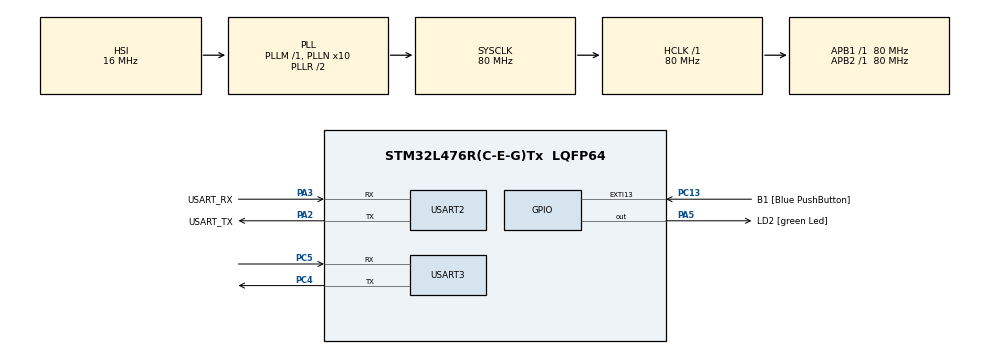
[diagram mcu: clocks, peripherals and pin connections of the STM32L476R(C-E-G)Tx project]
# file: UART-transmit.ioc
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Mcu.Family=STM32L4
Mcu.Name=STM32L476R(C-E-G)Tx
Mcu.Package=LQFP64
NVIC.PriorityGroup=NVIC_PRIORITYGROUP_4
NVIC.USART2_IRQn=true\:0\:0\:false\:false\:true\:true\:true
NVIC.USART3_IRQn=true\:0\:0\:false\:false\:true\:true\:true
PA13\ (JTMS-SWDIO).GPIO_Label=TMS
PA13\ (JTMS-SWDIO).Mode=Serial_Wire
PA13\ (JTMS-SWDIO).Signal=SYS_JTMS-SWDIO
PA14\ (JTCK-SWCLK).GPIO_Label=TCK
PA14\ (JTCK-SWCLK).Mode=Serial_Wire
PA14\ (JTCK-SWCLK).Signal=SYS_JTCK-SWCLK
PA2.GPIO_Label=USART_TX
PA2.GPIO_Mode=GPIO_MODE_AF_PP
PA2.GPIO_PuPd=GPIO_NOPULL
PA2.GPIO_Speed=GPIO_SPEED_FREQ_VERY_HIGH
PA2.Mode=Asynchronous
PA2.Signal=USART2_TX
PA3.GPIO_Label=USART_RX
PA3.GPIO_Mode=GPIO_MODE_AF_PP
PA3.GPIO_PuPd=GPIO_NOPULL
PA3.GPIO_Speed=GPIO_SPEED_FREQ_VERY_HIGH
PA3.Mode=Asynchronous
PA3.Signal=USART2_RX
PA5.GPIO_Label=LD2 [green Led]
PA5.GPIO_ModeDefaultOutputPP=GPIO_MODE_OUTPUT_PP
PA5.GPIO_PuPd=GPIO_NOPULL
PA5.GPIO_Speed=GPIO_SPEED_FREQ_LOW
PA5.Signal=GPIO_Output
PB3\ (JTDO-TRACESWO).GPIO_Label=SWO
PB3\ (JTDO-TRACESWO).Signal=SYS_JTDO-SWO
PC13.GPIO_Label=B1 [Blue PushButton]
PC13.GPIO_ModeDefaultEXTI=GPIO_MODE_IT_FALLING
PC13.GPIO_PuPd=GPIO_NOPULL
PC13.Signal=GPXTI13
PC14-OSC32_IN\ (PC14).Mode=LSE-External-Oscillator
PC14-OSC32_IN\ (PC14).Signal=RCC_OSC32_IN
PC15-OSC32_OUT\ (PC15).Mode=LSE-External-Oscillator
PC15-OSC32_OUT\ (PC15).Signal=RCC_OSC32_OUT
PC4.Mode=Asynchronous
PC4.Signal=USART3_TX
PC5.Mode=Asynchronous
PC5.Signal=USART3_RX
PH0-OSC_IN\ (PH0).Signal=RCC_OSC_IN
PH1-OSC_OUT\ (PH1).Signal=RCC_OSC_OUT
ProjectManager.HeapSize=0x200
ProjectManager.StackSize=0x400
ProjectManager.TargetToolchain=STM32CubeIDE
RCC.ADCFreq_Value=64000000
RCC.AHBFreq_Value=80000000
RCC.APB1Freq_Value=80000000
RCC.APB1TimFreq_Value=80000000
RCC.APB2Freq_Value=80000000
RCC.APB2TimFreq_Value=80000000
RCC.CortexFreq_Value=80000000
RCC.HCLKFreq_Value=80000000
RCC.HSE_VALUE=8000000
RCC.HSI_VALUE=16000000
RCC.MSI_VALUE=4000000
RCC.PLLN=10
RCC.PLLSourceVirtual=RCC_PLLSOURCE_HSI
RCC.PREFETCH_ENABLE=1
RCC.SYSCLKFreq_VALUE=80000000
RCC.SYSCLKSource=RCC_SYSCLKSOURCE_PLLCLK
RCC.USBFreq_Value=64000000
RCC.VCOOutputFreq_Value=160000000
USART2.VirtualMode-Asynchronous=VM_ASYNC
USART3.VirtualMode-Asynchronous=VM_ASYNC
board=NUCLEO-L476RG

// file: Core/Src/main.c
/* USER CODE BEGIN Header */
/**
  ******************************************************************************
  * @file           : main.c
  * @brief          : Main program body
  ******************************************************************************
  * @attention
  *
  * <h2><center>&copy; Copyright (c) 2021 STMicroelectronics.
  * All rights reserved.</center></h2>
  *
  * This software component is licensed by ST under BSD 3-Clause license,
  * the "License"; You may not use this file except in compliance with the
  * License. You may obtain a copy of the License at:
  *                        opensource.org/licenses/BSD-3-Clause
  *
  ******************************************************************************
  */
/* USER CODE END Header */
#include "main.h"

/* USER CODE BEGIN Includes */
#include <stdlib.h>
/* USER CODE END Includes */

UART_HandleTypeDef huart2;
UART_HandleTypeDef huart3;

/* USER CODE BEGIN PV */
uint8_t Received;
/* USER CODE END PV */

void SystemClock_Config(void);
static void MX_GPIO_Init(void);
static void MX_USART2_UART_Init(void);
static void MX_USART3_UART_Init(void);
/* USER CODE BEGIN PFP */
void HAL_UART_RxCpltCallback(UART_HandleTypeDef *huart) {
	uint8_t Data[50];
	uint16_t size = 0;

	switch (atoi(&Received)) {

	case 0:
		size = sprintf(Data, "STOP\n\r");
		HAL_GPIO_WritePin(GPIOA, GPIO_PIN_5, GPIO_PIN_RESET);
		break;
	case 1:
		size = sprintf(Data, "START\n\r");
		HAL_GPIO_WritePin(GPIOA, GPIO_PIN_5, GPIO_PIN_SET);
		break;
	default:
		size = sprintf(Data, "Unknown symbol received: %c\n\r", Received);
		break;
	}

	HAL_UART_Transmit_IT(&huart2, Data, size);
	HAL_UART_Receive_IT(&huart3, &Received, 24);
}
/* USER CODE END PFP */

int main(void)
{

  /* MCU Configuration--------------------------------------------------------*/

  /* Reset of all peripherals, Initializes the Flash interface and the Systick. */
  HAL_Init();

  /* Configure the system clock */
  SystemClock_Config();

  /* Initialize all configured peripherals */
  MX_GPIO_Init();
  MX_USART2_UART_Init();
  MX_USART3_UART_Init();
  /* USER CODE BEGIN 2 */
  HAL_UART_Receive_IT(&huart3, &Received, 24);
  /* USER CODE END 2 */

  /* Infinite loop */
  while (1)
  {

  }
}

void SystemClock_Config(void)
{
  RCC_OscInitTypeDef RCC_OscInitStruct = {0};
  RCC_ClkInitTypeDef RCC_ClkInitStruct = {0};

  /** Configure the main internal regulator output voltage
  */
  if (HAL_PWREx_ControlVoltageScaling(PWR_REGULATOR_VOLTAGE_SCALE1) != HAL_OK)
  {
    Error_Handler();
  }
  /** Initializes the RCC Oscillators according to the specified parameters
  * in the RCC_OscInitTypeDef structure.
  */
  RCC_OscInitStruct.OscillatorType = RCC_OSCILLATORTYPE_HSI;
  RCC_OscInitStruct.HSIState = RCC_HSI_ON;
  RCC_OscInitStruct.HSICalibrationValue = RCC_HSICALIBRATION_DEFAULT;
  RCC_OscInitStruct.PLL.PLLState = RCC_PLL_ON;
  RCC_OscInitStruct.PLL.PLLSource = RCC_PLLSOURCE_HSI;
  RCC_OscInitStruct.PLL.PLLM = 1;
  RCC_OscInitStruct.PLL.PLLN = 10;
  RCC_OscInitStruct.PLL.PLLP = RCC_PLLP_DIV7;
  RCC_OscInitStruct.PLL.PLLQ = RCC_PLLQ_DIV2;
  RCC_OscInitStruct.PLL.PLLR = RCC_PLLR_DIV2;
  if (HAL_RCC_OscConfig(&RCC_OscInitStruct) != HAL_OK)
  {
    Error_Handler();
  }
  /** Initializes the CPU, AHB and APB buses clocks
  */
  RCC_ClkInitStruct.ClockType = RCC_CLOCKTYPE_HCLK|RCC_CLOCKTYPE_SYSCLK
                              |RCC_CLOCKTYPE_PCLK1|RCC_CLOCKTYPE_PCLK2;
  RCC_ClkInitStruct.SYSCLKSource = RCC_SYSCLKSOURCE_PLLCLK;
  RCC_ClkInitStruct.AHBCLKDivider = RCC_SYSCLK_DIV1;
  RCC_ClkInitStruct.APB1CLKDivider = RCC_HCLK_DIV1;
  RCC_ClkInitStruct.APB2CLKDivider = RCC_HCLK_DIV1;

  if (HAL_RCC_ClockConfig(&RCC_ClkInitStruct, FLASH_LATENCY_4) != HAL_OK)
  {
    Error_Handler();
  }
}

static void MX_USART2_UART_Init(void)
{

  huart2.Instance = USART2;
  huart2.Init.BaudRate = 115200;
  huart2.Init.WordLength = UART_WORDLENGTH_8B;
  huart2.Init.StopBits = UART_STOPBITS_1;
  huart2.Init.Parity = UART_PARITY_NONE;
  huart2.Init.Mode = UART_MODE_TX_RX;
  huart2.Init.HwFlowCtl = UART_HWCONTROL_NONE;
  huart2.Init.OverSampling = UART_OVERSAMPLING_16;
  huart2.Init.OneBitSampling = UART_ONE_BIT_SAMPLE_DISABLE;
  huart2.AdvancedInit.AdvFeatureInit = UART_ADVFEATURE_NO_INIT;
  if (HAL_UART_Init(&huart2) != HAL_OK)
  {
    Error_Handler();
  }

}

static void MX_USART3_UART_Init(void)
{

  huart3.Instance = USART3;
  huart3.Init.BaudRate = 115200;
  huart3.Init.WordLength = UART_WORDLENGTH_8B;
  huart3.Init.StopBits = UART_STOPBITS_1;
  huart3.Init.Parity = UART_PARITY_NONE;
  huart3.Init.Mode = UART_MODE_TX_RX;
  huart3.Init.HwFlowCtl = UART_HWCONTROL_NONE;
  huart3.Init.OverSampling = UART_OVERSAMPLING_16;
  huart3.Init.OneBitSampling = UART_ONE_BIT_SAMPLE_DISABLE;
  huart3.AdvancedInit.AdvFeatureInit = UART_ADVFEATURE_NO_INIT;
  if (HAL_UART_Init(&huart3) != HAL_OK)
  {
    Error_Handler();
  }

}

static void MX_GPIO_Init(void)
{
  GPIO_InitTypeDef GPIO_InitStruct = {0};

  /* GPIO Ports Clock Enable */
  __HAL_RCC_GPIOC_CLK_ENABLE();
  __HAL_RCC_GPIOH_CLK_ENABLE();
  __HAL_RCC_GPIOA_CLK_ENABLE();
  __HAL_RCC_GPIOB_CLK_ENABLE();

  /*Configure GPIO pin Output Level */
  HAL_GPIO_WritePin(LD2_GPIO_Port, LD2_Pin, GPIO_PIN_RESET);

  /*Configure GPIO pin : B1_Pin */
  GPIO_InitStruct.Pin = B1_Pin;
  GPIO_InitStruct.Mode = GPIO_MODE_IT_FALLING;
  GPIO_InitStruct.Pull = GPIO_NOPULL;
  HAL_GPIO_Init(B1_GPIO_Port, &GPIO_InitStruct);

  /*Configure GPIO pin : LD2_Pin */
  GPIO_InitStruct.Pin = LD2_Pin;
  GPIO_InitStruct.Mode = GPIO_MODE_OUTPUT_PP;
  GPIO_InitStruct.Pull = GPIO_NOPULL;
  GPIO_InitStruct.Speed = GPIO_SPEED_FREQ_LOW;
  HAL_GPIO_Init(LD2_GPIO_Port, &GPIO_InitStruct);

}

void Error_Handler(void)
{
  __disable_irq();
  while (1)
  {
  }
}

/************************ (C) COPYRIGHT STMicroelectronics *****END OF FILE****/
